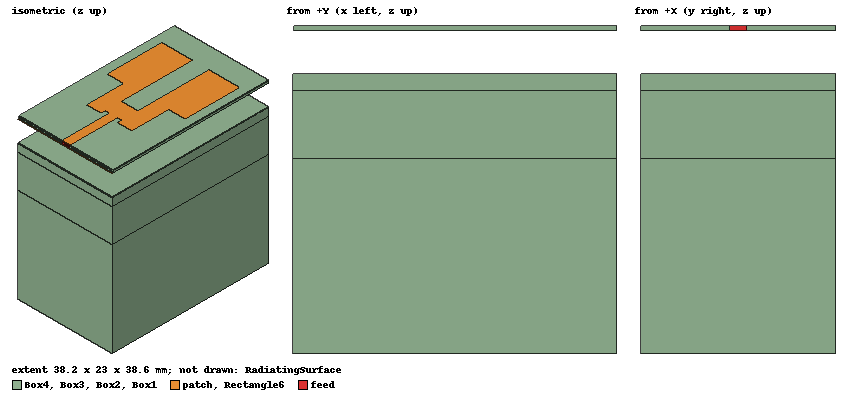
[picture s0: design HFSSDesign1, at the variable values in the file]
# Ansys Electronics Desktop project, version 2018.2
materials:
  vacuum: permittivity=1
  jeans: permittivity=1.6 dielectric_loss_tangent=0.02
  skin: permittivity=31.29 dielectric_loss_tangent=5.0138
  Material1: permittivity=52.79 dielectric_loss_tangent=1.705
  muscle: permittivity=52.79 dielectric_loss_tangent=1.705
  fat: permittivity=5.28 dielectric_loss_tangent=0.1

design HFSSDesign1 (HFSS, DrivenModal, model units mm)
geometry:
  Box1 [jeans] = box(corner=(0mm, 0mm, 0mm), size=(38mm, 23mm, 0.6mm))
  patch = rectangle(corner=(5.1mm, 2mm, 0.6mm), x_size=22.3mm, y_size=19mm)
  feedline = rectangle(corner=(27.4mm, 10.5mm, 0.6mm), x_size=10.6mm, y_size=2mm)
  Rectangle1 = rectangle(corner=(27.4mm, 10.5mm, 0.6mm), x_size=-1mm, y_size=-1mm)
  Rectangle2 = rectangle(corner=(26.4mm, 12.5mm, 0.6mm), x_size=1mm, y_size=1mm)
  patch.subtract(Rectangle1)
  patch.subtract(Rectangle2)
  patch.unite(feedline)
  Rectangle3 = rectangle(corner=(5.1mm, 9.5mm, 0.6mm), x_size=17.3mm, y_size=4mm)
  patch.subtract(Rectangle3)
  Rectangle4 = rectangle(corner=(18.4mm, 2mm, 0.6mm), x_size=9mm, y_size=4mm)
  patch.subtract(Rectangle4)
  Rectangle5 = rectangle(corner=(18.4mm, 17mm, 0.6mm), x_size=9mm, y_size=4mm)
  patch.subtract(Rectangle5)
  Rectangle6 = rectangle(corner=(27.6mm, 0mm, 0mm), x_size=10.6mm, y_size=23mm)
  RadiatingSurface [vacuum] = region(absolute_offset=16.666667mm on all sides)
  feed = rectangle(corner=(38mm, 10.5mm, 0.6mm), y_size=2mm, z_size=-0.6mm)
  Box2 [skin] = box(corner=(0mm, 0mm, -5mm), size=(38.2mm, 23mm, -2mm))
  Box3 [muscle] = box(corner=(0mm, 0mm, -7mm), size=(38.2mm, 23mm, -8mm))
  Box4 [fat] = box(corner=(0mm, 0mm, -15mm), size=(38.2mm, 23mm, -23mm))
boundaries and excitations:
  PerfE1: Perfect E Objects=patch
  PerfE2: Perfect E Objects=Rectangle6
  Open1: Radiation Objects=RadiatingSurface
  1: Lumped Port Objects=feed Modes{Mode1{IntLine{middle of feed.edge(z at corner) -> middle of feed.edge(z opposite corner)} CharImp=Zpi RenormImp=50ohm}} Impedance=50ohm
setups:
  Setup1: HfssDriven Frequency=6GHz MaxDeltaS=0.02 MaximumPasses=20 MinimumPasses=1 MinimumConvergedPasses=1 PercentRefinement=30 BasisOrder=1 PortAccuracy=2
    sweep Sweep: 1GHz to 12GHz, 201 points; Type=Fast SaveFields
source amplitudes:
  1:1: 1W 0deg
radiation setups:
  3D: Infinite Sphere Theta=-180deg..180deg step 2deg Phi=0deg..360deg step 2deg
  Elevation: Infinite Sphere Theta=-180deg..180deg step 1deg Phi=0deg..90deg step 90deg
  Azimuth: Infinite Sphere Theta=90deg..90deg step 0deg Phi=-180deg..180deg step 1deg
  Infinite Sphere1: Infinite Sphere Theta=-180deg..180deg step 2deg Phi=0deg..360deg step 2deg
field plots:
  Local_SAR1: SAR Field over patch.face(at (16.25, 11.5, 0.6)) on Setup1 : LastAdaptive at Freq=6GHz Phase=180deg
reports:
  S Parameter Plot 1: dB(S(1,1)) vs Freq on Setup1 : Sweep; markers MY1 at y=-10.0139
  Gain Plot 1: dB(GainTotal) vs Theta, Phi on Setup1 : LastAdaptive, 3D [Freq=6GHz]
  Gain Plot 2: dB(GainTotal) vs Theta, Phi on Setup1 : LastAdaptive, 3D [Freq=6GHz]
  S Parameter Plot 1_1: dB(S(1,1)) vs Freq; markers MY1 at y=-10.0139
